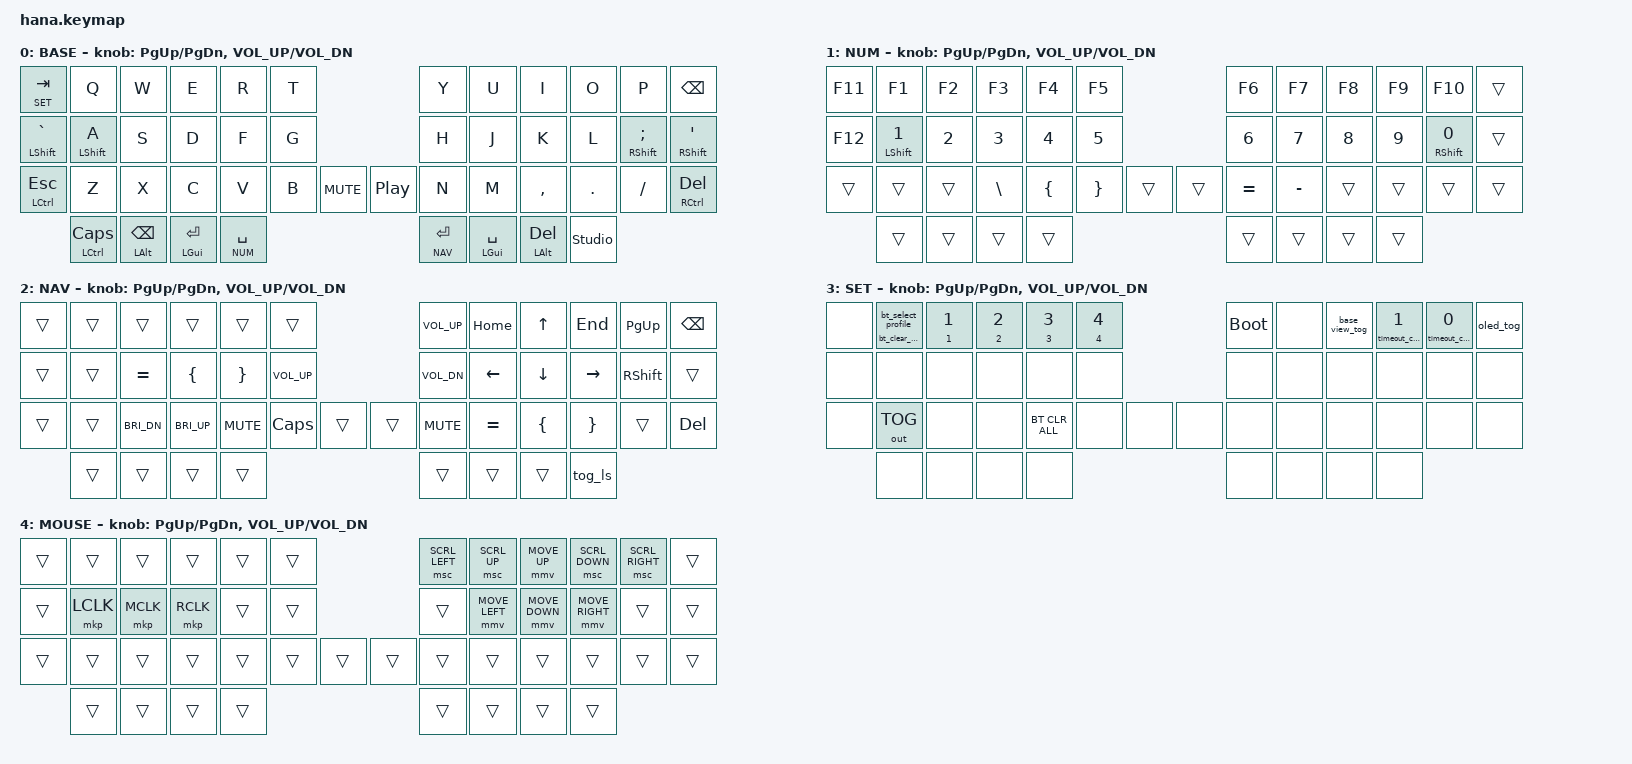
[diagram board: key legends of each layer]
#include <behaviors.dtsi>
#include <dt-bindings/zmk/keys.h>
#include <dt-bindings/zmk/bt.h>
#include <dt-bindings/zmk/outputs.h>
#include <dt-bindings/zmk/pointing.h>
#include <layout_shift_kp_override.dtsi>
#include <dt-bindings/zmk/layout_shift.h>
#include "../common/studio_runtime_layers.dtsi"
#include "../common/personal_hold_tap.dtsi"

#define BASE       0
#define NUM        1
#define NAV        2
#define SET        3
#define MOUSE      4


// Global GUI <-> Alt layout shift.
// BASE is the former working MAC Base.
// Layout shift OFF = macOS; layout shift ON = Windows.
/ {
    layout_shift_map_gui_alt: layout_shift_map_gui_alt {
        compatible = "zmk,layout-shift-map";
        mappings = <
            LGUI  LALT  LAYOUT_SHIFT_OPTIONAL_ALL
            LALT  LGUI  LAYOUT_SHIFT_OPTIONAL_ALL
            RGUI  RALT  LAYOUT_SHIFT_OPTIONAL_ALL
            RALT  RGUI  LAYOUT_SHIFT_OPTIONAL_ALL
        >;
    };
};

&tog_ls {
    layout-maps = <&layout_shift_map_gui_alt>;
};

// Tune all Hana mod-tap keys for easier rolling/typing.
// Keep the 200 ms tapping term, but avoid hold-preferred's aggressive modifier activation.
&mt {
    flavor = "balanced";
    hold-trigger-key-positions = <
        0xffffffff 0xffffffff 0xffffffff 0xffffffff
        0xffffffff 0xffffffff 0xffffffff 0xffffffff
        0xffffffff 0xffffffff 0xffffffff 0xffffffff
        0xffffffff 0xffffffff 0xffffffff 0xffffffff
        0xffffffff 0xffffffff 0xffffffff 0xffffffff
        0xffffffff 0xffffffff 0xffffffff 0xffffffff
        0xffffffff 0xffffffff 0xffffffff 0xffffffff
        0xffffffff 0xffffffff 0xffffffff 0xffffffff
    >;
    display-name = "Mod-Tap";
};

&lt {
    tapping-term-ms = <200>;
    quick-tap-ms = <175>;
    require-prior-idle-ms = <-1>;
    hold-trigger-key-positions = <
        0xffffffff 0xffffffff 0xffffffff 0xffffffff
        0xffffffff 0xffffffff 0xffffffff 0xffffffff
        0xffffffff 0xffffffff 0xffffffff 0xffffffff
        0xffffffff 0xffffffff 0xffffffff 0xffffffff
        0xffffffff 0xffffffff 0xffffffff 0xffffffff
        0xffffffff 0xffffffff 0xffffffff 0xffffffff
        0xffffffff 0xffffffff 0xffffffff 0xffffffff
        0xffffffff 0xffffffff 0xffffffff 0xffffffff
    >;
    display-name = "Layer-Tap";
};

/ {
    macros {
        bt_select_profile: bt_select_profile {
            compatible = "zmk,behavior-macro-one-param";
            #binding-cells = <1>;
            bindings =
                <&macro_param_1to2>,
                <&bt BT_SEL MACRO_PLACEHOLDER>;
        };

        bt_clear_profile: bt_clear_profile {
            compatible = "zmk,behavior-macro-one-param";
            #binding-cells = <1>;
            wait-ms = <20>;
            bindings =
                <&macro_param_1to2>,
                <&bt BT_SEL MACRO_PLACEHOLDER>,
                <&bt BT_CLR>;
        };
    };

    behaviors {
        bt_profile: bt_profile {
            compatible = "zmk,behavior-hold-tap";
            #binding-cells = <2>;
            flavor = "tap-preferred";
            tapping-term-ms = <3000>;
            bindings = <&bt_clear_profile>, <&bt_select_profile>;
            hold-trigger-key-positions = <
                0xffffffff 0xffffffff 0xffffffff 0xffffffff
                0xffffffff 0xffffffff 0xffffffff 0xffffffff
                0xffffffff 0xffffffff 0xffffffff 0xffffffff
                0xffffffff 0xffffffff 0xffffffff 0xffffffff
                0xffffffff 0xffffffff 0xffffffff 0xffffffff
                0xffffffff 0xffffffff 0xffffffff 0xffffffff
                0xffffffff 0xffffffff 0xffffffff 0xffffffff
                0xffffffff 0xffffffff 0xffffffff 0xffffffff
            >;
            runtime-editable;
            runtime-default-active;
            display-name = "Bluetooth Profile";
        };

        oled_tog: oled_toggle {
            compatible = "zmk,behavior-oled-toggle";
            #binding-cells = <0>;
            display-name = "OLED Toggle";
        };

        base_view_tog: base_view_toggle {
            compatible = "zmk,behavior-base-view-toggle";
            #binding-cells = <0>;
            display-name = "BASE View Cycle";
        };

        timeout_cycle: timeout_cycle {
            compatible = "zmk,behavior-timeout-cycle";
            #binding-cells = <1>;
            display-name = "Timeout Cycle";
        };
    };
};

/ {
    keymap {
        compatible = "zmk,keymap";

        base_layer {
            display-name = "BASE";
            sensor-bindings = <&inc_dec_kp PG_UP PG_DN &inc_dec_kp C_VOL_UP C_VOL_DN>;
            bindings = <
                &lt SET TAB  &kp Q              &kp W      &kp E      &kp R      &kp T                         &kp Y      &kp U      &kp I      &kp O      &kp P              &kp BSPC
                &mt LSHIFT GRAVE    &mt LSHIFT A       &kp S      &kp D      &kp F      &kp G                         &kp H      &kp J      &kp K      &kp L      &mt RSHIFT SEMI    &mt RSHIFT SQT
                &mt LCTRL ESC       &kp Z              &kp X      &kp C      &kp V      &kp B      &kp C_MUTE  &kp C_PP &kp N      &kp M      &kp COMMA  &kp DOT    &kp FSLH           &mt RCTRL DEL
                                      &mt LCTRL CAPS     &mt LALT BSPC        &mt LGUI RET &lt NUM SPACE                   &lt NAV RET &mt LGUI SPACE &mt LALT DEL &studio_unlock
            >;
        };

        num_layer {
            display-name = "NUM";
            sensor-bindings = <&inc_dec_kp PG_UP PG_DN &inc_dec_kp C_VOL_UP C_VOL_DN>;
            bindings = <
                &kp F11   &kp F1             &kp F2    &kp F3    &kp F4    &kp F5                      &kp F6     &kp F7     &kp F8     &kp F9     &kp F10            &trans
                &kp F12   &mt LSHIFT N1      &kp N2    &kp N3    &kp N4    &kp N5                      &kp N6     &kp N7     &kp N8     &kp N9     &mt RSHIFT N0     &trans
                &trans    &trans             &trans     &kp BSLH  &kp LBRC  &kp RBRC  &trans    &trans &kp EQUAL  &kp MINUS  &trans     &trans     &trans             &trans
                           &trans             &trans     &trans    &trans                              &trans      &trans      &trans     &trans
            >;
        };

        nav_layer {
            display-name = "NAV";
            sensor-bindings = <&inc_dec_kp PG_UP PG_DN &inc_dec_kp C_VOL_UP C_VOL_DN>;
            bindings = <
                &trans    &trans             &trans       &trans       &trans       &trans                        &kp C_VOL_UP  &kp HOME    &kp UP       &kp END      &kp PG_UP    &kp BSPC
                &trans    &trans             &kp EQUAL    &kp LBRC     &kp RBRC     &kp C_VOL_UP                  &kp C_VOL_DN  &kp LEFT    &kp DOWN     &kp RIGHT    &kp RSHIFT   &trans
                &trans    &trans             &kp C_BRI_DN &kp C_BRI_UP &kp C_MUTE  &kp CAPS    &trans    &trans &kp C_MUTE   &kp EQUAL   &kp LBRC     &kp RBRC     &trans       &kp DEL
                           &trans             &trans       &trans       &trans                                 &trans         &trans       &trans        &tog_ls
            >;
        };

        set_layer {
            display-name = "SET";
            sensor-bindings = <&inc_dec_kp PG_UP PG_DN &inc_dec_kp C_VOL_UP C_VOL_DN>;
            bindings = <
                &none     &bt_profile 0 0      &bt_profile 1 1  &bt_profile 2 2  &bt_profile 3 3  &bt_profile 4 4       &bootloader  &none  &base_view_tog  &timeout_cycle 1  &timeout_cycle 0  &oled_tog
                &none     &none               &none          &none          &none          &none                          &none        &none  &none  &none  &none  &none
                &none     &out OUT_TOG        &none          &none          &bt BT_CLR_ALL &none        &none    &none   &none        &none  &none  &none  &none  &none
                           &none               &none          &none          &none                                      &none        &none  &none  &none
            >;
        };


        mouse_layer {
            display-name = "MOUSE";
            sensor-bindings = <&inc_dec_kp PG_UP PG_DN &inc_dec_kp C_VOL_UP C_VOL_DN>;
            bindings = <
                &trans    &trans             &trans        &trans        &trans        &trans                         &msc SCRL_LEFT  &msc SCRL_UP    &mmv MOVE_UP    &msc SCRL_DOWN  &msc SCRL_RIGHT  &trans
                &trans    &mkp LCLK          &mkp MCLK     &mkp RCLK     &trans        &trans                         &trans          &mmv MOVE_LEFT &mmv MOVE_DOWN  &mmv MOVE_RIGHT &trans            &trans
                &trans    &trans             &trans        &trans        &trans        &trans       &trans    &trans  &trans          &trans          &trans          &trans          &trans            &trans
                           &trans             &trans        &trans        &trans                                  &trans          &trans          &trans          &trans
            >;
        };


        ZMK_STUDIO_RUNTIME_LAYER_SLOTS_4
    };
};
